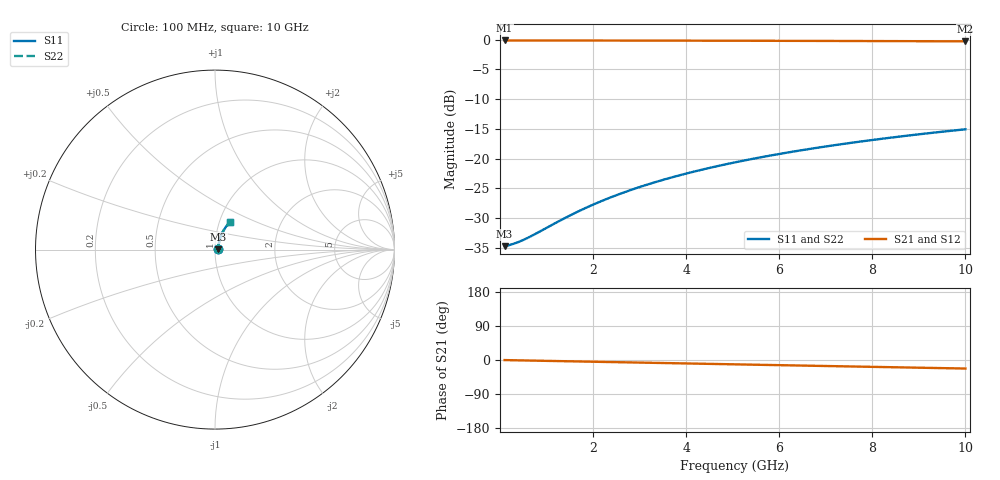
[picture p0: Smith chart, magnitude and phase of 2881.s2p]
# Hz S RI R 50.00
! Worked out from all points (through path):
!   100 points, 100 MHz to 10 GHz, reference 50 ohm
!   highest |S21| = -0.16 dB at 100 MHz (marker M1); lowest = -0.3 dB at 10 GHz (marker M2)
!   group delay of S21, straight-line fit = 6.26 ps
!   lowest |S11| = -34.7 dB at 100 MHz (marker M3), VSWR 1.04, Z = 51.9 + j0.181 ohm
!   |S11| at or under -10 dB: start of sweep to end of sweep
!   |S22| runs from -34.7 to -15.1 dB; largest |S21 - S12| = 0
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1e8  0.0183 0.00175  0.9817 -0.0039  0.9817 -0.0039  0.0183 0.00175
2e8  0.0184 0.00349  0.9816 -0.0078  0.9816 -0.0078  0.0184 0.00349
3e8  0.0185 0.00523  0.9814 -0.0117  0.9814 -0.0117  0.0185 0.00523
4e8  0.0186 0.00697  0.9813 -0.0156  0.9813 -0.0156  0.0186 0.00697
5e8  0.0188 0.00871  0.9812 -0.0195  0.9812 -0.0195  0.0188 0.00871
7e8  0.019 0.0122  0.9808 -0.0273  0.9808 -0.0273  0.019 0.0122
1.4e9  0.0203 0.0243  0.9792 -0.0545  0.9792 -0.0545  0.0203 0.0243
1.8e9  0.0213 0.0312  0.9779 -0.07  0.9779 -0.07  0.0213 0.0312
2.2e9  0.0225 0.0381  0.9763 -0.0855  0.9763 -0.0855  0.0225 0.0381
2.6e9  0.0239 0.0449  0.9745 -0.1009  0.9745 -0.1009  0.0239 0.0449
3e9  0.0255 0.0516  0.9723 -0.1163  0.9723 -0.1163  0.0255 0.0516
3.4e9  0.0273 0.0583  0.9699 -0.1316  0.9699 -0.1316  0.0273 0.0583
3.8e9  0.0294 0.065  0.9672 -0.1469  0.9672 -0.1469  0.0294 0.065
4.2e9  0.0316 0.0715  0.9642 -0.1621  0.9642 -0.1621  0.0316 0.0715
4.6e9  0.034 0.078  0.9609 -0.1772  0.9609 -0.1772  0.034 0.078
5.1e9  0.0374 0.0859  0.9564 -0.1959  0.9564 -0.1959  0.0374 0.0859
5.9e9  0.0433 0.0984  0.9484 -0.2256  0.9484 -0.2256  0.0433 0.0984
6.7e9  0.05 0.1104  0.9393 -0.2548  0.9393 -0.2548  0.05 0.1104
7.5e9  0.0575 0.1219  0.9291 -0.2835  0.9291 -0.2835  0.0575 0.1219
8.4e9  0.0666 0.1342  0.9166 -0.3152  0.9166 -0.3152  0.0666 0.1342
9.2e9  0.0754 0.1445  0.9044 -0.3428  0.9044 -0.3428  0.0754 0.1445
1e10  0.0848 0.1542  0.8913 -0.3697  0.8913 -0.3697  0.0848 0.1542
